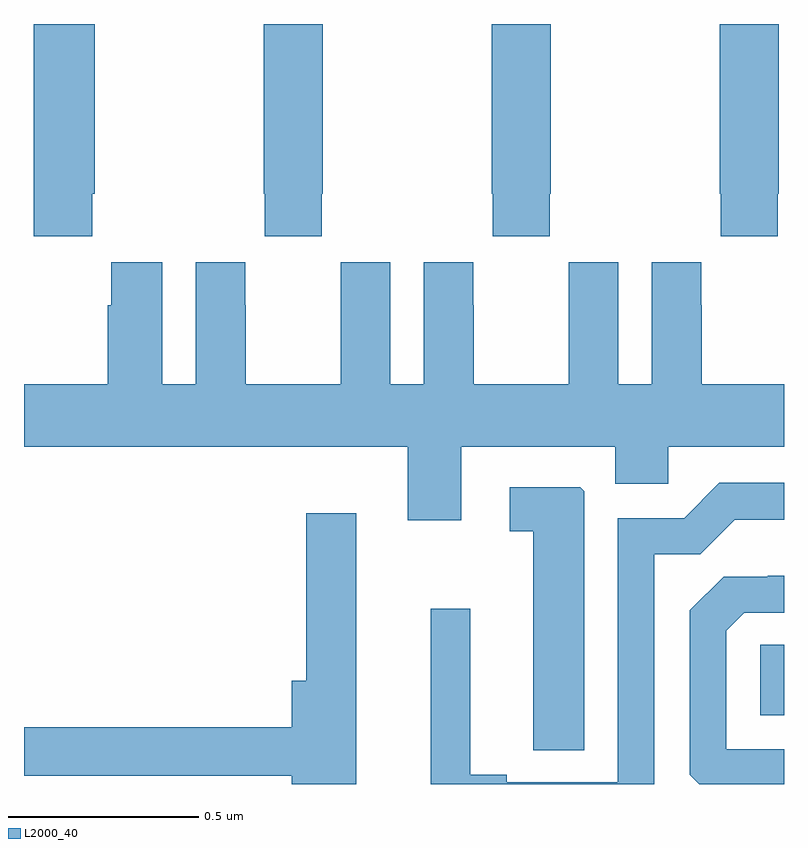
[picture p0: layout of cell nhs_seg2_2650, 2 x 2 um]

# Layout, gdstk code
import gdstk
lib = gdstk.Library(unit=1e-6, precision=1e-09)
def R(c, l, rs):  # rectangles x0, y0, x1, y1
    for r in rs: c.add(gdstk.rectangle(r[:2], r[2:], *l))
def P(c, l, *ps):  # polygons
    for p in ps: c.add(gdstk.Polygon(p, *l))
L2000_40 = (2000, 40)

nhs_seg2_2650 = lib.new_cell('nhs_seg2_2650')
R(nhs_seg2_2650, L2000_40, [(145.938,594.981,146,595.166)])
P(nhs_seg2_2650, L2000_40, [(144.783,596.353),(144.786,596.353),(144.786,596.8),(144.631,596.8),(144.631,596.353),(144.633,596.353),(144.633,596.241),(144.783,596.241)],
  [(145.383,596.353),(145.386,596.353),(145.386,596.8),(145.231,596.8),(145.231,596.353),(145.233,596.353),(145.233,596.241),(145.383,596.241)],
  [(145.983,596.353),(145.986,596.353),(145.986,596.8),(145.831,596.8),(145.831,596.353),(145.833,596.353),(145.833,596.241),(145.983,596.241)],
  [(144.179,596.353),(144.186,596.353),(144.186,596.8),(144.026,596.8),(144.026,596.241),(144.179,596.241)],
  [(144.834,596.173),(144.834,596.06),(144.833,596.06),(144.833,595.852),(144.583,595.852),(144.583,596.06),(144.582,596.06),(144.582,596.173),(144.452,596.173),(144.452,595.852),(144.364,595.852),(144.364,596.173),(144.23,596.173),(144.23,596.06),(144.221,596.06),(144.221,595.852),(144,595.852),(144,595.688),(145.01,595.688),(145.01,595.494),(145.15,595.494),(145.15,595.688),(145.556,595.688),(145.556,595.59),(145.695,595.59),(145.695,595.688),(146,595.688),(146,595.852),(145.783,595.852),(145.783,596.06),(145.782,596.06),(145.782,596.173),(145.652,596.173),(145.652,595.852),(145.564,595.852),(145.564,596.173),(145.434,596.173),(145.434,596.06),(145.433,596.06),(145.433,595.852),(145.183,595.852),(145.183,596.06),(145.182,596.06),(145.182,596.173),(145.052,596.173),(145.052,595.852),(144.964,595.852),(144.964,596.173)],
  [(145.659,595.405),(145.78,595.405),(145.871,595.496),(146,595.496),(146,595.593),(145.83,595.593),(145.737,595.5),(145.563,595.5),(145.563,594.804),(145.27,594.804),(145.27,594.824),(145.174,594.824),(145.174,595.261),(145.07,595.261),(145.07,594.8),(145.659,594.8)],
  [(145.474,595.571),(145.464,595.581),(145.278,595.581),(145.278,595.465),(145.34,595.465),(145.34,594.889),(145.474,594.889)],
  [(144.874,595.513),(144.743,595.513),(144.743,595.072),(144.704,595.072),(144.704,594.95),(144,594.95),(144,594.822),(144.704,594.822),(144.704,594.8),(144.874,594.8)],
  [(146,594.891),(145.848,594.891),(145.848,595.203),(145.896,595.251),(146,595.251),(146,595.348),(145.957,595.348),(145.957,595.346),(145.841,595.346),(145.752,595.257),(145.752,594.825),(145.777,594.8),(146,594.8)])

lib.write_gds('nhs_seg2_2650.gds')
